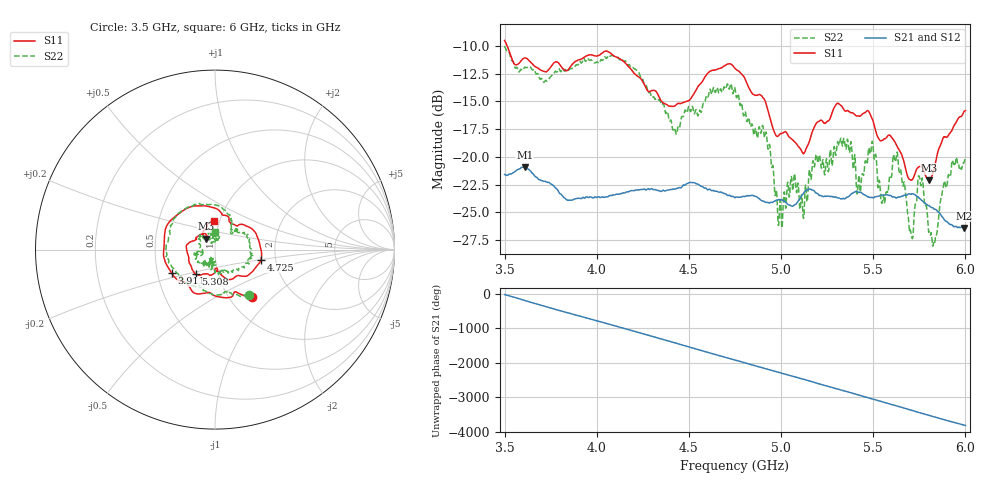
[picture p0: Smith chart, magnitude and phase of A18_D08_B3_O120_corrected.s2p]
! Created with skrf 1.9.0 (http://scikit-rf.org).
# Hz S RI R 50.0
!freq ReS11 ImS11 ReS21 ImS21 ReS12 ImS12 ReS22 ImS22
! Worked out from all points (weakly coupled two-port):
!   1601 points, 3.5 GHz to 6 GHz, reference 50 ohm
!   highest |S21| = -20.93 dB at 3.609 GHz (marker M1); lowest = -26.4 dB at 5.994 GHz (marker M2)
!   lowest |S11| = -22.1 dB at 5.803 GHz (marker M3), VSWR 1.17, Z = 45 + j5.51 ohm
!   |S11| at or under -10 dB: 3.514 GHz to end of sweep
!   |S22| runs from -28.1 to -10.0 dB; largest |S21 - S12| = 0.0011
!   S11 on the Smith chart (normalised r, x): 3.5 GHz: 1.27, -0.75; 3.911 GHz: 0.59, -0.17; 4.725 GHz: 1.68, -0.20; 5.308 GHz: 0.78, -0.22; 6 GHz: 0.94, +0.31
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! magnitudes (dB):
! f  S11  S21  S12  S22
! 3.5 GHz  -9.5  -21.6  -21.6  -10.0
! 3.609 GHz  -11.1  -20.9  -20.9  -11.9
! 3.911 GHz  -11.2  -23.8  -23.7  -11.4
! 3.917 GHz  -11.2  -23.8  -23.7  -11.5
! 4.334 GHz  -14.5  -23.0  -23.0  -14.9
! 4.425 GHz  -15.4  -22.9  -22.9  -17.6
! 4.725 GHz  -11.6  -23.5  -23.5  -13.5
! 4.75 GHz  -12.0  -23.7  -23.6  -13.9
! 4.911 GHz  -14.9  -24.1  -24.0  -18.3
! 4.995 GHz  -17.9  -23.9  -23.8  -23.9
! 5.167 GHz  -17.8  -23.0  -23.0  -21.2
! 5.308 GHz  -15.2  -23.7  -23.7  -18.6
! 5.42 GHz  -16.3  -23.2  -23.2  -21.9
! 5.487 GHz  -16.3  -23.7  -23.6  -19.5
! 5.552 GHz  -18.5  -23.4  -23.4  -23.9
! 5.584 GHz  -18.0  -23.5  -23.5  -22.5
! 5.623 GHz  -18.9  -23.7  -23.7  -20.2
! 5.706 GHz  -22.1  -23.4  -23.3  -27.0
! 5.756 GHz  -20.9  -23.9  -23.8  -22.5
! 5.803 GHz  -22.1  -24.4  -24.4  -26.7
! 5.994 GHz  -15.9  -26.4  -26.3  -20.5
! 6 GHz  -15.8  -26.4  -26.4  -20.0
